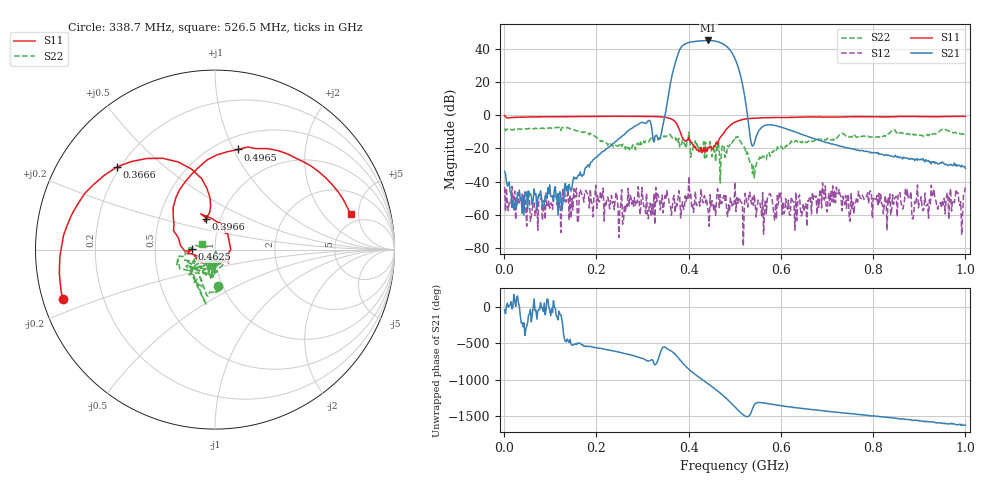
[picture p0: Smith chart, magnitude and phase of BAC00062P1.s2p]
!measured: 2026-10-27T15:04:06
!cal_instance: BBtestOct27
!cal_created: 2026-10-27T14:45
!cal_file: BBtesting.cal
!port1_delay_ps: -58.63
!port2_delay_ps: -59.31
!host: dhcp-10-250-247-203.harvard.edu
! Created with skrf 2.1.0 (http://scikit-rf.org).
# Hz S RI R 50.0
!freq ReS11 ImS11 ReS21 ImS21 ReS12 ImS12 ReS22 ImS22
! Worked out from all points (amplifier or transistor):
!   501 points, 1 MHz to 1 GHz, reference 50 ohm
!   highest |S21| = 45.0 dB at 442.6 MHz (marker M1)
!   |S21| within 3 dB of that: 387.4 MHz to 479.7 MHz (92.27 MHz wide, 21.3 % of centre)
!   unconditionally stable (mu >= 1): start of sweep to 399.6 MHz; 426.9 MHz to 462.1 MHz; 500.8 MHz to end of sweep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
!   at 166.8 MHz: K = 984.95, MAG = -28.0 dB, |S12| = -46.0 dB
!   at 500.5 MHz: K = 0.77, MSG = 37.1 dB, |S12| = -40.3 dB
!   at 1 GHz: K = 421.89, MAG = -23.5 dB, |S12| = -43.5 dB
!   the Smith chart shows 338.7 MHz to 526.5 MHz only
!   S11 on the Smith chart (normalised r, x): 338.7 MHz: 0.06, -0.16; 366.6 MHz: 0.19, +0.35; 396.6 MHz: 0.86, +0.30; 462.5 MHz: 0.77, +0.00; 496.5 MHz: 0.63, +1.04; 526.5 MHz: 3.98, +4.00
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1000000  -0.3264 0.9202  0.0139 -0.0148  -0.00616 0.00294  0.3891 -0.0944
1.68832e8  0.5088 -0.7575  -0.0138 -0.00429  0.00371 -0.00129  -0.0311 -0.3121
3.34666e8  -0.826 -0.355  0.18 0.0332  0.000643 -0.0034  0.0514 -0.2035
3.38662e8  -0.8492 -0.2755  0.0056 0.2117  -0.000173 0.00139  0.0169 -0.2045
3.66634e8  -0.5457 0.4608  -0.5495 22.48  -0.00108 -0.00306  -0.0728 -0.2082
3.74626e8  -0.2056 0.4886  42.5 34.03  -0.0011 0.00149  -0.0713 -0.1852
3.82618e8  -0.0276 0.289  97.26 -38.74  0.000804 9.92e-05  -0.1201 -0.0603
3.96604e8  -0.0491 0.1699  -67.17 -131.7  0.000759 -0.00348  -0.1621 -0.0925
4.08592e8  0.0383 0.125  -162 7.227  -0.00197 -0.000432  -0.0126 -0.0862
4.24576e8  0.0722 -0.0447  -33.02 168.9  0.00183 5e-06  -0.00654 -0.1001
4.32568e8  -0.0133 -0.0995  73.59 157.4  0.000679 -0.0032  -0.0235 -0.1588
4.42558e8  -0.0781 -0.0732  166.4 59.89  0.000853 -0.000974  -0.0266 -0.1054
4.52548e8  -0.0904 -0.0349  154.7 -78.23  -0.00187 -0.00129  0.00393 -0.0702
4.62538e8  -0.1282 0.00218  41.26 -157.2  -0.00122 -0.006  0.0602 -0.0651
4.78522e8  -0.2331 0.2342  -120.4 -44.58  -0.00248 0.00112  -0.0232 -0.0483
4.88512e8  -0.0906 0.4588  -74.44 60.46  -0.000755 -0.00101  -0.0322 -0.113
4.96504e8  0.1287 0.5578  -0.0723 64.95  0.00203 6.52e-05  -0.1433 -0.0918
5.005e8  0.2262 0.5628  21.55 44.91  -0.00637 -0.00733  -0.1249 -0.1194
5.26474e8  0.7558 0.1961  0.4467 -1.179  0.00122 0.00169  -0.0721 0.0317
6.68332e8  0.1042 -0.8749  0.1808 0.0914  0.00481 4.22e-05  0.0446 -0.1538
8.34166e8  -0.5705 -0.6874  0.0103 -0.0606  0.00165 0.00127  -0.1576 -0.2318
1e9  -0.88 -0.2731  -0.0249 0.00194  -0.00642 -0.00175  -0.2121 -0.1579
